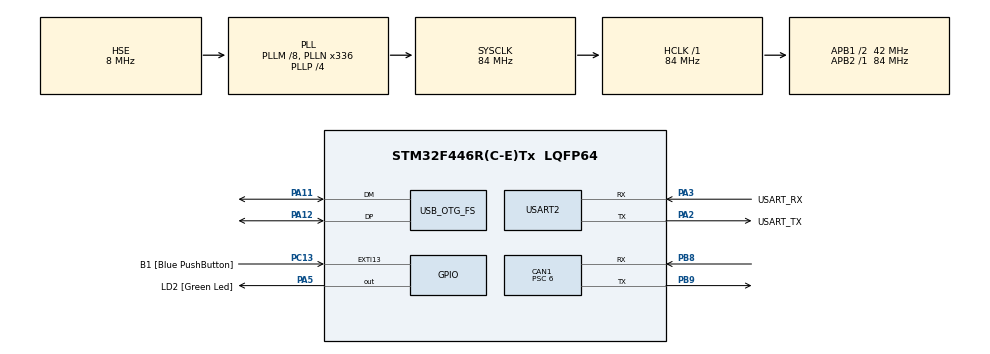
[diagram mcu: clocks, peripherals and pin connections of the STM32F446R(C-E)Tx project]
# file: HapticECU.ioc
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CAN1.BS1=CAN_BS1_11TQ
CAN1.BS2=CAN_BS2_2TQ
CAN1.CalculateBaudRate=500000
CAN1.CalculateTimeBit=2000
CAN1.CalculateTimeQuantum=142.85714285714286
CAN1.NART=ENABLE
CAN1.Prescaler=6
Mcu.Family=STM32F4
Mcu.Name=STM32F446R(C-E)Tx
Mcu.Package=LQFP64
NVIC.CAN1_RX0_IRQn=true\:0\:0\:false\:false\:true\:true\:true\:true
NVIC.OTG_FS_IRQn=true\:0\:0\:false\:false\:true\:false\:true\:true
NVIC.PriorityGroup=NVIC_PRIORITYGROUP_0
PA11.Mode=Host_Only
PA11.Signal=USB_OTG_FS_DM
PA12.Mode=Host_Only
PA12.Signal=USB_OTG_FS_DP
PA13.GPIO_Label=TMS
PA13.Mode=Serial_Wire
PA13.Signal=SYS_JTMS-SWDIO
PA14.GPIO_Label=TCK
PA14.Mode=Serial_Wire
PA14.Signal=SYS_JTCK-SWCLK
PA2.GPIO_Label=USART_TX
PA2.Mode=Asynchronous
PA2.Signal=USART2_TX
PA3.GPIO_Label=USART_RX
PA3.Mode=Asynchronous
PA3.Signal=USART2_RX
PA5.GPIO_Label=LD2 [Green Led]
PA5.Signal=GPIO_Output
PB3.GPIO_Label=SWO
PB3.Signal=SYS_JTDO-SWO
PB8.Mode=CAN_Activate
PB8.Signal=CAN1_RX
PB9.Mode=CAN_Activate
PB9.Signal=CAN1_TX
PC13.GPIO_Label=B1 [Blue PushButton]
PC13.GPIO_ModeDefaultEXTI=GPIO_MODE_IT_FALLING
PC13.Signal=GPXTI13
PC14-OSC32_IN.Mode=LSE-External-Oscillator
PC14-OSC32_IN.Signal=RCC_OSC32_IN
PC15-OSC32_OUT.Mode=LSE-External-Oscillator
PC15-OSC32_OUT.Signal=RCC_OSC32_OUT
PH0-OSC_IN.Mode=HSE-External-Oscillator
PH0-OSC_IN.Signal=RCC_OSC_IN
PH1-OSC_OUT.Mode=HSE-External-Oscillator
PH1-OSC_OUT.Signal=RCC_OSC_OUT
ProjectManager.HeapSize=0x200
ProjectManager.StackSize=0x400
ProjectManager.TargetToolchain=STM32CubeIDE
RCC.48MHZClocksFreq_Value=84000000
RCC.AHBFreq_Value=84000000
RCC.APB1CLKDivider=RCC_HCLK_DIV2
RCC.APB1Freq_Value=42000000
RCC.APB1TimFreq_Value=84000000
RCC.APB2Freq_Value=84000000
RCC.APB2TimFreq_Value=84000000
RCC.CortexFreq_Value=84000000
RCC.FLatency-AdvancedSettings=FLASH_LATENCY_2
RCC.HCLKFreq_Value=84000000
RCC.HSE_VALUE=8000000
RCC.HSI_VALUE=16000000
RCC.PLLM=8
RCC.PLLN=336
RCC.PLLP=RCC_PLLP_DIV4
RCC.PLLQ=7
RCC.SYSCLKFreq_VALUE=84000000
RCC.SYSCLKSource=RCC_SYSCLKSOURCE_PLLCLK
RCC.USBFreq_Value=48000000
RCC.VCOOutputFreq_Value=336000000
USART2.VirtualMode=VM_ASYNC
USB_HOST.SW_VBUS_DRIVE_HID_FS=true
USB_HOST.USBH_DEBUG_LEVEL-HID_FS=3
USB_HOST.USBH_HandleTypeDef-HID_FS=hUsbHostFS
USB_HOST.VirtualModeFS=Hid
USB_OTG_FS.VirtualMode=Host_Only
USB_OTG_FS.phy_itface=HCD_PHY_EMBEDDED
VP_USB_HOST_VS_USB_HOST_HID_FS.Mode=HID_FS
board=NUCLEO-F446RE

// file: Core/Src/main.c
/* USER CODE BEGIN Header */
/**
  ******************************************************************************
  * @file           : main.c
  * @brief          : Haptic ECU
  *
  * Raspberry Pi Safety ECU
  *        |
  *        | CAN 0x110 HAPTIC_COMMAND
  *        v
  * STM32F446RE Haptic ECU
  *        |
  *        | USB HID Feature Report
  *        v
  * SIMAGIC P2000 HCB -> P-HPR
  *
  * STM32F446RE
  *        |
  *        | CAN 0x200 HAPTIC_STATUS
  *        v
  * Raspberry Pi Safety ECU
  ******************************************************************************
  */
/* USER CODE END Header */

#include "main.h"
#include "usb_host.h"

/* USER CODE BEGIN Includes */
#include <stdio.h>
#include <string.h>
#include "usbh_hid.h"
/* USER CODE END Includes */

/* USER CODE BEGIN PTD */

typedef struct
{
  uint8_t risk_level;
  uint8_t vibration_command;
  uint8_t intensity;
  uint8_t frequency;
  uint8_t alive_counter;
} HapticCommand_t;

/* USER CODE END PTD */

/* USER CODE BEGIN PD */

/* =========================================================
 * P2000
 * ========================================================= */
#define P2000_CHANNEL              0U

/* =========================================================
 * CAN Message ID
 * ========================================================= */
#define HAPTIC_COMMAND_ID          0x110U
#define HAPTIC_STATUS_ID           0x200U

/* =========================================================
 * CAN Timing
 * ========================================================= */
#define HAPTIC_STATUS_PERIOD_MS    10U
#define HAPTIC_COMMAND_TIMEOUT_MS  100U

/* =========================================================
 * Fault Code
 * ========================================================= */
#define FAULT_NO_FAULT             0U
#define FAULT_ACTUATOR             1U
#define FAULT_DRIVER               2U
#define FAULT_INVALID_COMMAND      3U
#define FAULT_COMMUNICATION        4U

/* ECU Status */
#define ECU_STATUS_ERROR           0U
#define ECU_STATUS_NORMAL          1U

/* USER CODE END PD */

CAN_HandleTypeDef hcan1;
UART_HandleTypeDef huart2;

/* USER CODE BEGIN PV */

extern USBH_HandleTypeDef hUsbHostFS;

/* =========================================================
 * P2000
 * ========================================================= */
static uint8_t p2000_report[49] = {0};

static volatile uint8_t p2000_send_pending = 0U;

static uint8_t p2000_current_intensity = 0U;
static uint8_t p2000_current_frequency = 0U;
static uint8_t p2000_current_status    = 0U;

/* =========================================================
 * CAN RX
 * ========================================================= */
static CAN_RxHeaderTypeDef can_rx_header;
static uint8_t can_rx_data[8];

/* ISR -> Main 전달용 */
static volatile HapticCommand_t pending_command;
static volatile uint8_t command_pending = 0U;

/* =========================================================
 * 현재 Haptic ECU 상태
 * ========================================================= */
static uint8_t current_risk_level = 0U;

static volatile uint8_t fault_code = FAULT_NO_FAULT;

static volatile uint8_t command_timeout = 1U;

static uint8_t ecu_status = ECU_STATUS_NORMAL;

/* 마지막 정상 HAPTIC_COMMAND 수신 시간 */
static volatile uint32_t last_command_tick = 0U;

/* 한 번이라도 정상 명령을 받았는지 */
static volatile uint8_t command_received_once = 0U;

/* =========================================================
 * CAN STATUS
 * ========================================================= */
static uint32_t last_status_tick = 0U;

static uint8_t status_alive_counter = 0U;

/* Timeout 시 Stop 명령을 계속 생성하지 않도록 */
static uint8_t timeout_stop_done = 0U;

/* HAPTIC_COMMAND Alive Counter 감시 */
static volatile uint8_t previous_command_alive = 0U;
static volatile uint8_t alive_received_once = 0U;

/* P2000 USB 연결 상태 감시 */
static uint8_t p2000_usb_ready = 0U;

/* USER CODE END PV */

void SystemClock_Config(void);

static void MX_GPIO_Init(void);
static void MX_USART2_UART_Init(void);
static void MX_CAN1_Init(void);

void MX_USB_HOST_Process(void);

/* USER CODE BEGIN PFP */

void P2000_SetHaptic(uint8_t intensity,
                     uint8_t frequency);

void P2000_StopHaptic(void);

static void CAN_Filter_Config(void);

static uint8_t HapticCommand_IsValid(
    const HapticCommand_t *cmd,
    const uint8_t *raw_data);

static void HapticCommand_Process(void);

static void HapticTimeout_Process(void);

static void HapticStatus_Send(void);

/* USER CODE END PFP */

/* USER CODE BEGIN 0 */

/* =========================================================
 * printf -> USART2
 * ========================================================= */
int _write(int file, char *ptr, int len)
{
  (void)file;

  HAL_UART_Transmit(&huart2,
                    (uint8_t *)ptr,
                    len,
                    HAL_MAX_DELAY);

  return len;
}

/* =========================================================
 * P2000 Haptic ON
 *
 * intensity : 1 ~ 100 %
 * frequency : 10 ~ 50 Hz
 *
 * 실제 USB 전송은 main while()에서 처리
 * ========================================================= */
void P2000_SetHaptic(uint8_t intensity,
                     uint8_t frequency)
{
  memset(p2000_report,
         0,
         sizeof(p2000_report));

  /*
   * P2000 Feature Report
   *
   * Byte 0 : 0xF1
   * Byte 1 : 0xEC
   * Byte 2 : Channel
   * Byte 3 : Enable
   * Byte 4 : Frequency
   * Byte 5 : Intensity
   */

  p2000_report[0] = 0xF1U;
  p2000_report[1] = 0xECU;
  p2000_report[2] = P2000_CHANNEL;

  p2000_report[3] = 0x01U;

  p2000_report[4] = frequency;
  p2000_report[5] = intensity;

  /*
   * 아직 USB 전송이 완료된 것은 아니므로
   * 실제 적용 상태는 USBH_OK 이후 갱신한다.
   */
  p2000_send_pending = 1U;
}

/* =========================================================
 * P2000 Haptic OFF
 * ========================================================= */
void P2000_StopHaptic(void)
{
  memset(p2000_report,
         0,
         sizeof(p2000_report));

  p2000_report[0] = 0xF1U;
  p2000_report[1] = 0xECU;
  p2000_report[2] = P2000_CHANNEL;

  p2000_report[3] = 0x00U;
  p2000_report[4] = 0x00U;
  p2000_report[5] = 0x00U;

  p2000_send_pending = 1U;
}

/* =========================================================
 * CAN Filter
 *
 * HAPTIC_COMMAND
 * ID = 0x110
 *
 * 만 수신
 * ========================================================= */
static void CAN_Filter_Config(void)
{
  CAN_FilterTypeDef filter;

  memset(&filter, 0, sizeof(filter));

  filter.FilterBank = 0U;

  filter.FilterMode = CAN_FILTERMODE_IDMASK;

  filter.FilterScale = CAN_FILTERSCALE_32BIT;

  /*
   * Standard CAN ID는 Filter register에서
   * 5 bit left shift
   */
  filter.FilterIdHigh =
      (uint16_t)(HAPTIC_COMMAND_ID << 5U);

  filter.FilterIdLow = 0x0000U;

  /*
   * 0x7FF -> Standard ID 11bit 전체 비교
   */
  filter.FilterMaskIdHigh =
      (uint16_t)(0x7FFU << 5U);

  filter.FilterMaskIdLow = 0x0000U;

  filter.FilterFIFOAssignment = CAN_FILTER_FIFO0;

  filter.FilterActivation = ENABLE;

  filter.SlaveStartFilterBank = 14U;

  if (HAL_CAN_ConfigFilter(&hcan1,
                           &filter) != HAL_OK)
  {
    Error_Handler();
  }
}

/* =========================================================
 * HAPTIC_COMMAND 유효성 검사
 *
 * Byte 0 : Risk Level
 * Byte 1 : Vibration Command
 * Byte 2 : Intensity
 * Byte 3 : Frequency
 * Byte 4 : Reserved = 0
 * Byte 5 : Reserved = 0
 * Byte 6 : Reserved = 0
 * Byte 7 : Alive Counter
 * ========================================================= */
static uint8_t HapticCommand_IsValid(
    const HapticCommand_t *cmd,
    const uint8_t *raw_data)
{
  /* Risk Level : 0 ~ 3 */
  if (cmd->risk_level > 3U)
  {
    return 0U;
  }

  /* Vibration Command : 0 or 1 */
  if (cmd->vibration_command > 1U)
  {
    return 0U;
  }

  /* Reserved bytes */
  if ((raw_data[4] != 0x00U) ||
      (raw_data[5] != 0x00U) ||
      (raw_data[6] != 0x00U))
  {
    return 0U;
  }

  /*
   * OFF
   *
   * Command   = 0
   * Intensity = 0
   * Frequency = 0
   */
  if (cmd->vibration_command == 0U)
  {
    if ((cmd->intensity != 0U) ||
        (cmd->frequency != 0U))
    {
      return 0U;
    }

    return 1U;
  }

  /*
   * ON
   *
   * Intensity : 1 ~ 100 %
   * Frequency : 10 ~ 50 Hz
   */
  if ((cmd->intensity < 1U) ||
      (cmd->intensity > 100U))
  {
    return 0U;
  }

  if ((cmd->frequency < 10U) ||
      (cmd->frequency > 50U))
  {
    return 0U;
  }

  return 1U;
}

/* =========================================================
 * CAN으로 받은 HAPTIC_COMMAND 처리
 * ========================================================= */
static void HapticCommand_Process(void)
{
  HapticCommand_t cmd;

  if (command_pending == 0U)
  {
    return;
  }

  /*
   * ISR이 쓰는 데이터를 짧게 보호해서 복사
   */
  __disable_irq();

  cmd.risk_level =
      pending_command.risk_level;

  cmd.vibration_command =
      pending_command.vibration_command;

  cmd.intensity =
      pending_command.intensity;

  cmd.frequency =
      pending_command.frequency;

  cmd.alive_counter =
      pending_command.alive_counter;

  command_pending = 0U;

  __enable_irq();

  current_risk_level = cmd.risk_level;

  /*
   * OFF 명령
   */
  if (cmd.vibration_command == 0U)
  {
    P2000_StopHaptic();

    printf("[CAN RX] 0x110 "
           "Risk=%u OFF Alive=%u\r\n",
           cmd.risk_level,
           cmd.alive_counter);
  }

  /*
   * ON 명령
   */
  else
  {
    P2000_SetHaptic(cmd.intensity,
                    cmd.frequency);

    printf("[CAN RX] 0x110 "
           "Risk=%u ON "
           "Intensity=%u%% "
           "Frequency=%uHz "
           "Alive=%u\r\n",
           cmd.risk_level,
           cmd.intensity,
           cmd.frequency,
           cmd.alive_counter);
  }
}

/* =========================================================
 * HAPTIC_COMMAND Timeout
 *
 * 100 ms 이상 명령이 없으면 Fail-Safe OFF
 * ========================================================= */
static void HapticTimeout_Process(void)
{
  uint32_t now = HAL_GetTick();

  /*
   * 아직 정상 명령을 한 번도 받지 않은 경우
   * 안전상 OFF 상태 유지
   */
  if (command_received_once == 0U)
  {
    command_timeout = 1U;

    return;
  }

  if ((now - last_command_tick) >=
      HAPTIC_COMMAND_TIMEOUT_MS)
  {
    command_timeout = 1U;
    current_risk_level = 0U;

    /*
     * Timeout 발생 시 딱 한 번만
     * P2000 OFF 전송
     */
    if (timeout_stop_done == 0U)
    {
      P2000_StopHaptic();

      timeout_stop_done = 1U;

      printf("[CAN] HAPTIC_COMMAND TIMEOUT -> Haptic OFF\r\n");
    }
  }
}

/* =========================================================
 * HAPTIC_STATUS
 *
 * CAN ID : 0x200
 * DLC    : 8
 *
 * Byte 0 : Current Risk Level
 * Byte 1 : Vibration Status
 * Byte 2 : Applied Intensity
 * Byte 3 : Applied Frequency
 * Byte 4 : Fault Code
 * Byte 5 : Command Timeout
 * Byte 6 : ECU Status
 * Byte 7 : Alive Counter
 * ========================================================= */
static void HapticStatus_Send(void)
{
  CAN_TxHeaderTypeDef tx_header;

  uint8_t tx_data[8];

  uint32_t tx_mailbox;

  tx_header.StdId = HAPTIC_STATUS_ID;

  tx_header.ExtId = 0U;

  tx_header.IDE = CAN_ID_STD;

  tx_header.RTR = CAN_RTR_DATA;

  tx_header.DLC = 8U;

  tx_header.TransmitGlobalTime = DISABLE;

  tx_data[0] = current_risk_level;

  tx_data[1] = p2000_current_status;

  tx_data[2] = p2000_current_intensity;

  tx_data[3] = p2000_current_frequency;

  tx_data[4] = fault_code;

  tx_data[5] = command_timeout;

  tx_data[6] = ecu_status;

  tx_data[7] = status_alive_counter;

  /*
   * Mailbox가 있을 때만 비동기 송신
   */
  if (HAL_CAN_GetTxMailboxesFreeLevel(&hcan1) > 0U)
  {
    if (HAL_CAN_AddTxMessage(&hcan1,
                             &tx_header,
                             tx_data,
                             &tx_mailbox) == HAL_OK)
    {
      /*
       * STATUS Alive Counter는 STM32가 독립 생성
       * 255 -> 0 자동 rollover
       */
      status_alive_counter++;
    }
  }
}

/* =========================================================
 * CAN RX FIFO0 Interrupt Callback
 * ========================================================= */
void HAL_CAN_RxFifo0MsgPendingCallback(
    CAN_HandleTypeDef *hcan)
{
  HapticCommand_t cmd;

  if (hcan->Instance != CAN1)
  {
    return;
  }

  if (HAL_CAN_GetRxMessage(hcan,
                           CAN_RX_FIFO0,
                           &can_rx_header,
                           can_rx_data) != HAL_OK)
  {
    return;
  }

  /*
   * Standard ID / Data Frame / DLC 검사
   */
  if ((can_rx_header.IDE != CAN_ID_STD) ||
      (can_rx_header.RTR != CAN_RTR_DATA) ||
      (can_rx_header.StdId != HAPTIC_COMMAND_ID) ||
      (can_rx_header.DLC != 8U))
  {
    return;
  }

  /*
   * 0x110 Parsing
   */
  cmd.risk_level =
      can_rx_data[0];

  cmd.vibration_command =
      can_rx_data[1];

  cmd.intensity =
      can_rx_data[2];

  cmd.frequency =
      can_rx_data[3];

  cmd.alive_counter =
      can_rx_data[7];

  /*
   * 유효하지 않은 명령
   */
  if (HapticCommand_IsValid(&cmd,
                            can_rx_data) == 0U)
  {
    /*
     * ISR에서는 USB 제어를 직접 하지 않음.
     *
     * OFF 명령을 main loop로 전달.
     */
    pending_command.risk_level =
        0U;

    pending_command.vibration_command =
        0U;

    pending_command.intensity =
        0U;

    pending_command.frequency =
        0U;

    pending_command.alive_counter =
        cmd.alive_counter;

    command_pending = 1U;

    fault_code =
        FAULT_INVALID_COMMAND;

    /*
     * Invalid Command는 정상 명령으로 인정하지 않음.
     * 따라서 Timeout 기준 시간은 갱신하지 않는다.
     */
    return;
  }

  /*
   * Alive Counter 검사
   * 첫 정상 프레임은 수용하고, 이후 동일 값 반복 시 통신 이상 처리.
   * 프레임 유실로 값이 건너뛰는 경우는 즉시 Fault 처리하지 않음.
   */
  if ((alive_received_once == 1U) &&
      (cmd.alive_counter == previous_command_alive))
  {
	/* Haptic OFF */
	pending_command.risk_level = 0U;
	pending_command.vibration_command = 0U;
	pending_command.intensity = 0U;
	pending_command.frequency = 0U;
	pending_command.alive_counter = cmd.alive_counter;
	command_pending = 1U;

	fault_code = FAULT_COMMUNICATION;

    /* 정상 명령 수신 시간은 갱신하지 않음 */
    return;
  }

  /* Alive Counter 검사까지 통과한 정상 명령 */
  last_command_tick = HAL_GetTick();
  command_received_once = 1U;
  command_timeout = 0U;
  timeout_stop_done = 0U;

  previous_command_alive = cmd.alive_counter;
  alive_received_once = 1U;

  /*
   * 정상 명령
   */
  pending_command.risk_level =
      cmd.risk_level;

  pending_command.vibration_command =
      cmd.vibration_command;

  pending_command.intensity =
      cmd.intensity;

  pending_command.frequency =
      cmd.frequency;

  pending_command.alive_counter =
      cmd.alive_counter;

  command_pending = 1U;

  /* 정상 명령이 들어오면 Command 관련 Fault 해제 */
  if ((fault_code == FAULT_INVALID_COMMAND) ||
      (fault_code == FAULT_COMMUNICATION))
  {
    fault_code = FAULT_NO_FAULT;
  }
}

/* USER CODE END 0 */

int main(void)
{

  /* MCU Configuration--------------------------------------------------------*/

  HAL_Init();

  SystemClock_Config();

  /* Initialize all configured peripherals */

  MX_GPIO_Init();

  MX_USART2_UART_Init();

  MX_USB_HOST_Init();

  MX_CAN1_Init();

  /* USER CODE BEGIN 2 */

  printf("\r\n");
  printf("========================================\r\n");
  printf(" STM32 HAPTIC ECU\r\n");
  printf("========================================\r\n");
  printf("CAN Baud        : 500 kbps\r\n");
  printf("HAPTIC_COMMAND  : 0x110\r\n");
  printf("HAPTIC_STATUS   : 0x200\r\n");
  printf("STATUS Period   : 10 ms\r\n");
  printf("Command Timeout : 100 ms\r\n");
  printf("========================================\r\n");

  /*
   * CAN Filter
   */
  CAN_Filter_Config();

  /*
   * CAN Start
   */
  if (HAL_CAN_Start(&hcan1) != HAL_OK)
  {
    Error_Handler();
  }

  /*
   * RX FIFO0 Message Pending Interrupt
   */
  if (HAL_CAN_ActivateNotification(
          &hcan1,
          CAN_IT_RX_FIFO0_MSG_PENDING) != HAL_OK)
  {
    Error_Handler();
  }

  /*
   * 시작 시 Haptic OFF
   */
  P2000_StopHaptic();

  last_status_tick = HAL_GetTick();

  printf("[CAN] CAN1 started\r\n");
  printf("[CAN] Waiting for HAPTIC_COMMAND 0x110...\r\n");

  /* USER CODE END 2 */

  /* Infinite loop */
  while (1)
  {

    MX_USB_HOST_Process();

    /* USER CODE BEGIN 3 */

    /* =========================================================
     * 0. P2000 USB 연결 상태 감시
     * ========================================================= */
    if (hUsbHostFS.gState == HOST_CLASS)
    {
      if (p2000_usb_ready == 0U)
      {
        p2000_usb_ready = 1U;
        ecu_status = ECU_STATUS_NORMAL;

        if (fault_code == FAULT_DRIVER)
        {
          fault_code = FAULT_NO_FAULT;
        }

        printf("[P2000] USB READY\r\n");
      }
    }
    else
    {
      if (p2000_usb_ready == 1U)
      {
        printf("[P2000] USB DISCONNECTED\r\n");
      }

      p2000_usb_ready = 0U;

      /* P2000 사용 불가 시 STATUS를 안전하게 OFF로 보고 */
      p2000_current_status = 0U;
      p2000_current_intensity = 0U;
      p2000_current_frequency = 0U;

      ecu_status = ECU_STATUS_ERROR;
      fault_code = FAULT_DRIVER;
    }

    /* =========================================================
     * 1. CAN 명령 처리
     * ========================================================= */
    HapticCommand_Process();

    /* =========================================================
     * 2. 100 ms CAN Command Timeout 감시
     * ========================================================= */
    HapticTimeout_Process();

    /* =========================================================
     * 3. P2000 Feature Report 전송
     * ========================================================= */
    if ((p2000_send_pending == 1U) &&
        (hUsbHostFS.gState == HOST_CLASS))
    {
      USBH_StatusTypeDef usb_status;

      usb_status =
          USBH_HID_SetReport(
              &hUsbHostFS,
              0x03U,     /* Feature Report */
              0xF1U,     /* Report ID */
              p2000_report,
              sizeof(p2000_report));

      /*
       * USB 전송 성공
       */
      if (usb_status == USBH_OK)
      {
        p2000_send_pending = 0U;

        /*
         * 여기서부터 STATUS의 값은
         * "CAN으로 받은 Target 값"이 아니라
         * P2000에 전송 완료된 Applied 제어값
         */
        if (p2000_report[3] == 0x00U)
        {
          p2000_current_status = 0U;

          p2000_current_intensity = 0U;

          p2000_current_frequency = 0U;

          printf("[P2000] Applied OFF\r\n");
        }

        else
        {
          p2000_current_status = 1U;

          p2000_current_frequency =
              p2000_report[4];

          p2000_current_intensity =
              p2000_report[5];

          printf("[P2000] Applied ON "
                 "Intensity=%u%% "
                 "Frequency=%uHz\r\n",
                 p2000_current_intensity,
                 p2000_current_frequency);
        }
      }

      /*
       * Feature Report 미지원
       */
      else if (usb_status ==
               USBH_NOT_SUPPORTED)
      {
        p2000_send_pending = 0U;

        fault_code =
            FAULT_DRIVER;

        ecu_status =
            ECU_STATUS_ERROR;

        printf("[P2000] Feature Report NOT SUPPORTED\r\n");
      }

      /*
       * USBH_BUSY
       *
       * 아무것도 하지 않음.
       * 다음 while loop에서 재시도.
       */
    }

    /* =========================================================
     * 4. HAPTIC_STATUS 0x200
     *
     * 10 ms Period
     * ========================================================= */
    if ((HAL_GetTick() - last_status_tick) >=
        HAPTIC_STATUS_PERIOD_MS)
    {
      last_status_tick +=
          HAPTIC_STATUS_PERIOD_MS;

      HapticStatus_Send();
    }

  }

  /* USER CODE END 3 */
}

void SystemClock_Config(void)
{
  RCC_OscInitTypeDef RCC_OscInitStruct = {0};

  RCC_ClkInitTypeDef RCC_ClkInitStruct = {0};

  __HAL_RCC_PWR_CLK_ENABLE();

  __HAL_PWR_VOLTAGESCALING_CONFIG(
      PWR_REGULATOR_VOLTAGE_SCALE3);

  RCC_OscInitStruct.OscillatorType =
      RCC_OSCILLATORTYPE_HSE;

  RCC_OscInitStruct.HSEState =
      RCC_HSE_ON;

  RCC_OscInitStruct.PLL.PLLState =
      RCC_PLL_ON;

  RCC_OscInitStruct.PLL.PLLSource =
      RCC_PLLSOURCE_HSE;

  RCC_OscInitStruct.PLL.PLLM = 8;

  RCC_OscInitStruct.PLL.PLLN = 336;

  RCC_OscInitStruct.PLL.PLLP =
      RCC_PLLP_DIV4;

  RCC_OscInitStruct.PLL.PLLQ = 7;

  RCC_OscInitStruct.PLL.PLLR = 2;

  if (HAL_RCC_OscConfig(
          &RCC_OscInitStruct) != HAL_OK)
  {
    Error_Handler();
  }

  RCC_ClkInitStruct.ClockType =
      RCC_CLOCKTYPE_HCLK |
      RCC_CLOCKTYPE_SYSCLK |
      RCC_CLOCKTYPE_PCLK1 |
      RCC_CLOCKTYPE_PCLK2;

  RCC_ClkInitStruct.SYSCLKSource =
      RCC_SYSCLKSOURCE_PLLCLK;

  RCC_ClkInitStruct.AHBCLKDivider =
      RCC_SYSCLK_DIV1;

  RCC_ClkInitStruct.APB1CLKDivider =
      RCC_HCLK_DIV2;

  RCC_ClkInitStruct.APB2CLKDivider =
      RCC_HCLK_DIV1;

  if (HAL_RCC_ClockConfig(
          &RCC_ClkInitStruct,
          FLASH_LATENCY_2) != HAL_OK)
  {
    Error_Handler();
  }
}

static void MX_CAN1_Init(void)
{

  /*
   * APB1 = 42 MHz
   *
   * Prescaler = 6
   * BS1       = 11 TQ
   * BS2       = 2 TQ
   * SJW       = 1 TQ
   *
   * 42 MHz / 6 / (1 + 11 + 2)
   * = 500 kbit/s
   */

  hcan1.Instance = CAN1;

  hcan1.Init.Prescaler = 6;

  hcan1.Init.Mode =
      CAN_MODE_NORMAL;

  hcan1.Init.SyncJumpWidth =
      CAN_SJW_1TQ;

  hcan1.Init.TimeSeg1 =
      CAN_BS1_11TQ;

  hcan1.Init.TimeSeg2 =
      CAN_BS2_2TQ;

  hcan1.Init.TimeTriggeredMode =
      DISABLE;

  hcan1.Init.AutoBusOff =
      ENABLE;

  hcan1.Init.AutoWakeUp =
      DISABLE;

  hcan1.Init.AutoRetransmission =
      ENABLE;

  hcan1.Init.ReceiveFifoLocked =
      DISABLE;

  hcan1.Init.TransmitFifoPriority =
      DISABLE;

  if (HAL_CAN_Init(&hcan1) != HAL_OK)
  {
    Error_Handler();
  }

}

static void MX_USART2_UART_Init(void)
{

  huart2.Instance =
      USART2;

  huart2.Init.BaudRate =
      115200;

  huart2.Init.WordLength =
      UART_WORDLENGTH_8B;

  huart2.Init.StopBits =
      UART_STOPBITS_1;

  huart2.Init.Parity =
      UART_PARITY_NONE;

  huart2.Init.Mode =
      UART_MODE_TX_RX;

  huart2.Init.HwFlowCtl =
      UART_HWCONTROL_NONE;

  huart2.Init.OverSampling =
      UART_OVERSAMPLING_16;

  if (HAL_UART_Init(&huart2) != HAL_OK)
  {
    Error_Handler();
  }

}

static void MX_GPIO_Init(void)
{
  GPIO_InitTypeDef GPIO_InitStruct = {0};

  __HAL_RCC_GPIOC_CLK_ENABLE();

  __HAL_RCC_GPIOH_CLK_ENABLE();

  __HAL_RCC_GPIOA_CLK_ENABLE();

  __HAL_RCC_GPIOB_CLK_ENABLE();

  HAL_GPIO_WritePin(
      LD2_GPIO_Port,
      LD2_Pin,
      GPIO_PIN_RESET);

  GPIO_InitStruct.Pin =
      B1_Pin;

  GPIO_InitStruct.Mode =
      GPIO_MODE_IT_FALLING;

  GPIO_InitStruct.Pull =
      GPIO_NOPULL;

  HAL_GPIO_Init(
      B1_GPIO_Port,
      &GPIO_InitStruct);

  GPIO_InitStruct.Pin =
      LD2_Pin;

  GPIO_InitStruct.Mode =
      GPIO_MODE_OUTPUT_PP;

  GPIO_InitStruct.Pull =
      GPIO_NOPULL;

  GPIO_InitStruct.Speed =
      GPIO_SPEED_FREQ_LOW;

  HAL_GPIO_Init(
      LD2_GPIO_Port,
      &GPIO_InitStruct);

}

void Error_Handler(void)
{
  __disable_irq();
  while (1)
  {
  }
}
